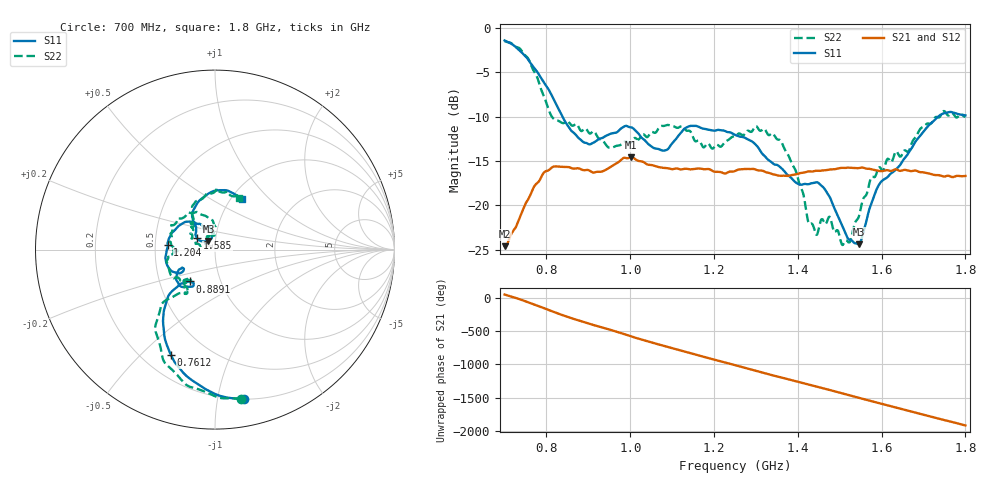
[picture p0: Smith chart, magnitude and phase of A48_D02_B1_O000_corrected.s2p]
! Created with skrf 1.9.0 (http://scikit-rf.org).
# Hz S RI R 50.0
!freq ReS11 ImS11 ReS21 ImS21 ReS12 ImS12 ReS22 ImS22
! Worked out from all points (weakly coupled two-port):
!   1601 points, 700 MHz to 1.8 GHz, reference 50 ohm
!   highest |S21| = -14.57 dB at 1.002 GHz (marker M1); lowest = -24.6 dB at 701.4 MHz (marker M2)
!   lowest |S11| = -24.4 dB at 1.545 GHz (marker M3), VSWR 1.13, Z = 46.3 + j4.47 ohm
!   |S11| at or under -10 dB: 838.2 MHz to 1.735 GHz (896.3 MHz wide, 69.7 % of centre)
!   |S22| runs from -24.5 to -1.5 dB; largest |S21 - S12| = 0.0035
!   S11 on the Smith chart (normalised r, x): 700 MHz: 0.20, -1.19; 761.2 MHz: 0.31, -0.62; 889.1 MHz: 0.71, -0.27; 1.204 GHz: 0.58, +0.03; 1.585 GHz: 0.81, +0.11; 1.8 GHz: 1.12, +0.71
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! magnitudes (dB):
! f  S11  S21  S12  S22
! 700 MHz  -1.4  -24.6  -24.4  -1.5
! 701.4 MHz  -1.4  -24.6  -24.2  -1.5
! 761.2 MHz  -3.9  -18.9  -18.8  -3.9
! 814.1 MHz  -7.8  -15.7  -15.7  -10.1
! 883.6 MHz  -12.7  -16.0  -15.9  -11.6
! 889.1 MHz  -12.9  -16.0  -16.0  -11.4
! 950.9 MHz  -11.9  -15.7  -15.7  -13.5
! 1.002 GHz  -11.2  -14.6  -14.7  -12.8
! 1.067 GHz  -13.6  -15.7  -15.6  -11.3
! 1.14 GHz  -11.1  -15.9  -15.9  -11.6
! 1.204 GHz  -11.6  -16.2  -16.2  -13.2
! 1.25 GHz  -12.0  -16.1  -16.0  -12.2
! 1.301 GHz  -13.2  -16.0  -16.0  -11.1
! 1.359 GHz  -15.7  -16.7  -16.6  -12.7
! 1.434 GHz  -17.5  -16.2  -16.1  -22.1
! 1.476 GHz  -19.0  -16.0  -16.0  -21.3
! 1.508 GHz  -22.6  -15.8  -15.8  -24.4
! 1.545 GHz  -24.4  -15.8  -15.8  -21.4
! 1.585 GHz  -18.5  -16.0  -16.0  -16.7
! 1.617 GHz  -16.7  -16.1  -16.0  -14.8
! 1.737 GHz  -9.9  -16.6  -16.7  -10.1
! 1.8 GHz  -9.9  -16.7  -16.7  -10.0
